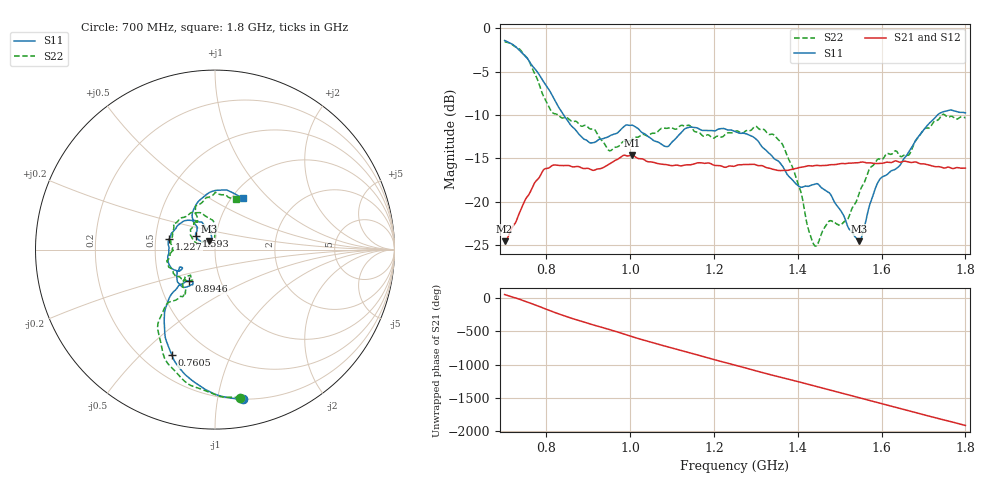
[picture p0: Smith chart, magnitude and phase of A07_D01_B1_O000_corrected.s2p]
! Created with skrf 1.9.0 (http://scikit-rf.org).
# Hz S RI R 50.0
!freq ReS11 ImS11 ReS21 ImS21 ReS12 ImS12 ReS22 ImS22
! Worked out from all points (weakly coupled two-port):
!   1601 points, 700 MHz to 1.8 GHz, reference 50 ohm
!   highest |S21| = -14.61 dB at 1.004 GHz (marker M1); lowest = -24.5 dB at 700 MHz (marker M2)
!   lowest |S11| = -24.5 dB at 1.547 GHz (marker M3), VSWR 1.13, Z = 46.4 + j4.43 ohm
!   |S11| at or under -10 dB: 841 MHz to 1.733 GHz (892.5 MHz wide, 69.3 % of centre)
!   |S22| runs from -25.1 to -1.5 dB; largest |S21 - S12| = 0.0037
!   S11 on the Smith chart (normalised r, x): 700 MHz: 0.20, -1.19; 760.5 MHz: 0.32, -0.62; 894.6 MHz: 0.71, -0.26; 1.227 GHz: 0.59, +0.07; 1.593 GHz: 0.80, +0.13; 1.8 GHz: 1.12, +0.72
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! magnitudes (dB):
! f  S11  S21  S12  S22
! 700 MHz  -1.4  -24.5  -24.3  -1.5
! 760.5 MHz  -4.0  -18.9  -18.8  -4.0
! 812.1 MHz  -7.6  -15.9  -15.8  -9.6
! 883.6 MHz  -12.5  -16.1  -16.0  -11.3
! 894.6 MHz  -12.9  -16.1  -16.2  -11.2
! 950.9 MHz  -12.4  -15.6  -15.6  -14.1
! 1.004 GHz  -11.2  -14.6  -14.8  -12.8
! 1.067 GHz  -13.1  -15.6  -15.5  -11.8
! 1.227 GHz  -11.6  -16.0  -15.9  -12.2
! 1.25 GHz  -11.9  -15.9  -15.8  -11.9
! 1.361 GHz  -15.7  -16.4  -16.4  -13.2
! 1.405 GHz  -18.3  -16.0  -16.0  -18.5
! 1.434 GHz  -18.1  -15.9  -15.8  -24.4
! 1.445 GHz  -17.9  -15.8  -15.8  -25.0
! 1.476 GHz  -19.0  -15.7  -15.8  -22.2
! 1.516 GHz  -22.4  -15.6  -15.6  -22.1
! 1.547 GHz  -24.5  -15.5  -15.5  -18.9
! 1.593 GHz  -17.6  -15.6  -15.6  -15.0
! 1.617 GHz  -16.7  -15.5  -15.4  -14.5
! 1.664 GHz  -14.3  -15.4  -15.4  -14.6
! 1.736 GHz  -9.9  -15.9  -16.0  -10.5
! 1.8 GHz  -9.8  -16.1  -16.1  -10.3
